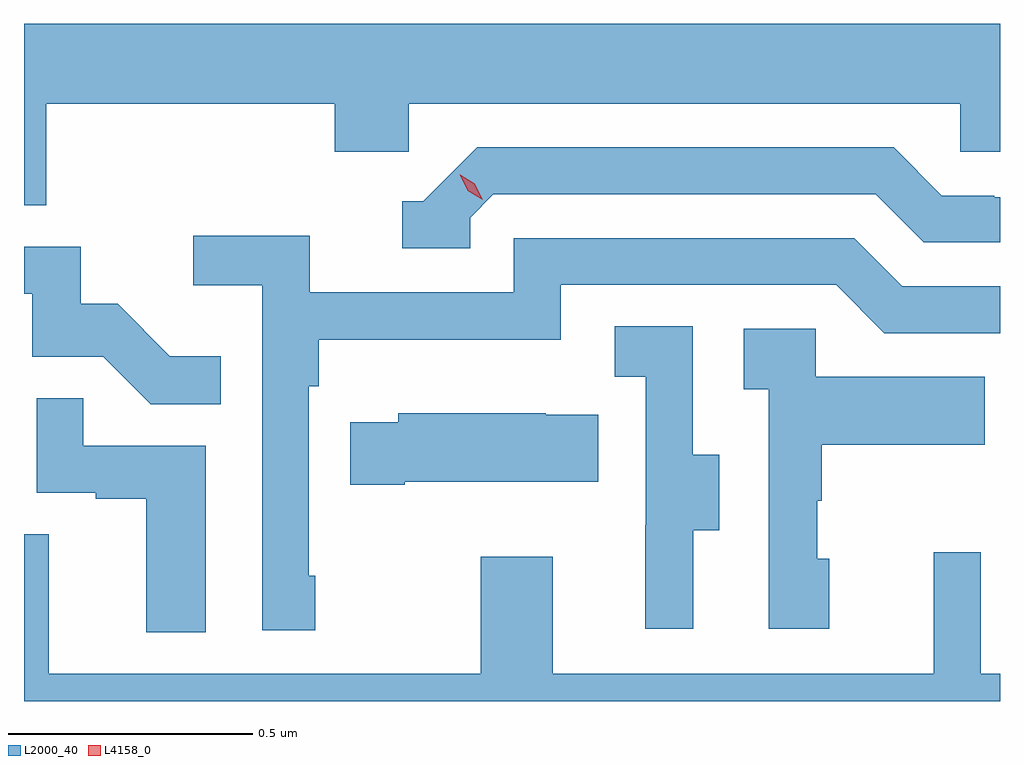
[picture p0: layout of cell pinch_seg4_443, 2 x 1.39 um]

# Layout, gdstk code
import gdstk
lib = gdstk.Library(unit=1e-6, precision=1e-09)
def P(c, l, *ps):  # polygons
    for p in ps: c.add(gdstk.Polygon(p, *l))
L2000_40 = (2000, 40)
L4158_0 = (4158, 0)

pinch_seg4_443 = lib.new_cell('pinch_seg4_443')
P(pinch_seg4_443, L2000_40, [(950.372,775.508),(950.963,775.508),(950.963,775.41),(951.114,775.41),(951.114,775.508),(952.245,775.508),(952.245,775.41),(952.326,775.41),(952.326,775.672),(950.326,775.672),(950.326,775.3),(950.372,775.3)],
  [(951.24,775.275),(951.288,775.323),(952.071,775.323),(952.17,775.224),(952.326,775.224),(952.326,775.317),(952.314,775.317),(952.314,775.32),(952.207,775.32),(952.108,775.419),(951.255,775.419),(951.144,775.308),(951.101,775.308),(951.101,775.212),(951.24,775.212)],
  [(950.923,774.541),(950.91,774.541),(950.91,774.929),(950.93,774.929),(950.93,775.025),(951.426,775.025),(951.426,775.137),(951.99,775.137),(952.089,775.038),(952.326,775.038),(952.326,775.134),(952.126,775.134),(952.027,775.233),(951.33,775.233),(951.33,775.122),(950.912,775.122),(950.912,775.238),(950.673,775.238),(950.673,775.136),(950.814,775.136),(950.814,774.429),(950.923,774.429)],
  [(950.729,774.991),(950.625,774.991),(950.518,775.098),(950.442,775.098),(950.442,775.215),(950.326,775.215),(950.326,775.119),(950.343,775.119),(950.343,774.99),(950.488,774.99),(950.586,774.892),(950.729,774.892)],
  [(951.697,774.634),(951.751,774.634),(951.751,774.789),(951.696,774.789),(951.696,775.052),(951.537,775.052),(951.537,774.949),(951.6,774.949),(951.6,774.645),(951.599,774.645),(951.599,774.432),(951.697,774.432)],
  [(951.976,774.576),(951.951,774.576),(951.951,774.695),(951.961,774.695),(951.961,774.809),(952.295,774.809),(952.295,774.949),(951.948,774.949),(951.948,775.047),(951.801,775.047),(951.801,774.923),(951.852,774.923),(951.852,774.432),(951.976,774.432)],
  [(950.698,774.807),(950.447,774.807),(950.447,774.905),(950.352,774.905),(950.352,774.711),(950.473,774.711),(950.473,774.699),(950.576,774.699),(950.576,774.425),(950.698,774.425)],
  [(951.106,774.734),(951.503,774.734),(951.503,774.871),(951.395,774.871),(951.395,774.874),(951.093,774.874),(951.093,774.856),(950.995,774.856),(950.995,774.727),(951.106,774.727)],
  [(952.326,774.34),(952.287,774.34),(952.287,774.589),(952.19,774.589),(952.19,774.34),(951.409,774.34),(951.409,774.58),(951.262,774.58),(951.262,774.34),(950.377,774.34),(950.377,774.626),(950.326,774.626),(950.326,774.284),(952.326,774.284)])
P(pinch_seg4_443, L4158_0, [(951.266,775.311),(951.235,775.33),(951.219,775.363),(951.219,775.363),(951.22,775.363),(951.25,775.344),(951.266,775.311),(951.266,775.311)])

lib.write_gds('pinch_seg4_443.gds')
